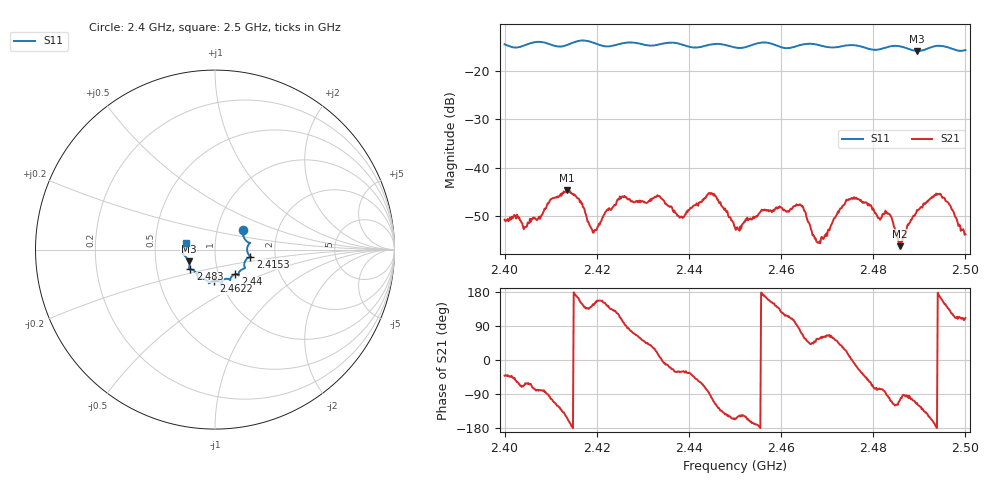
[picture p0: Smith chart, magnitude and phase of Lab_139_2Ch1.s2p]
# Hz S RI R 50
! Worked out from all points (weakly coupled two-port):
!   601 points, 2.4 GHz to 2.5 GHz, reference 50 ohm
!   highest |S21| = -44.61 dB at 2.4135 GHz (marker M1); lowest = -56.2 dB at 2.4858 GHz (marker M2)
!   lowest |S11| = -15.9 dB at 2.4895 GHz (marker M3), VSWR 1.38, Z = 36.9 - j4.99 ohm
!   |S11| at or under -10 dB: start of sweep to end of sweep
!   S12 and S22 are empty: the file has one direction only
!   S11 on the Smith chart (normalised r, x): 2.4 GHz: 1.33, +0.29; 2.4153 GHz: 1.48, -0.12; 2.44 GHz: 1.20, -0.34; 2.4622 GHz: 0.93, -0.33; 2.483 GHz: 0.74, -0.17; 2.5 GHz: 0.72, +0.06
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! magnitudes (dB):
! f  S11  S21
! 2.4 GHz  -14.5  -50.8
! 2.4045 GHz  -14.6  -52.3
! 2.4135 GHz  -14.7  -44.6
! 2.4153 GHz  -14.0  -45.8
! 2.4167 GHz  -13.7  -47.4
! 2.4195 GHz  -14.2  -52.9
! 2.4252 GHz  -14.4  -46.4
! 2.4333 GHz  -14.6  -45.9
! 2.44 GHz  -15.0  -48.8
! 2.445 GHz  -14.5  -45.4
! 2.45 GHz  -15.1  -52.4
! 2.4622 GHz  -15.2  -48.5
! 2.4645 GHz  -14.6  -48.0
! 2.4667 GHz  -14.4  -53.1
! 2.4687 GHz  -14.8  -54.5
! 2.4753 GHz  -14.6  -46.3
! 2.483 GHz  -15.1  -49.3
! 2.4833 GHz  -15.0  -49.5
! 2.4858 GHz  -14.9  -56.2
! 2.4895 GHz  -15.9  -48.7
! 2.4942 GHz  -14.8  -45.5
! 2.5 GHz  -15.7  -53.8
